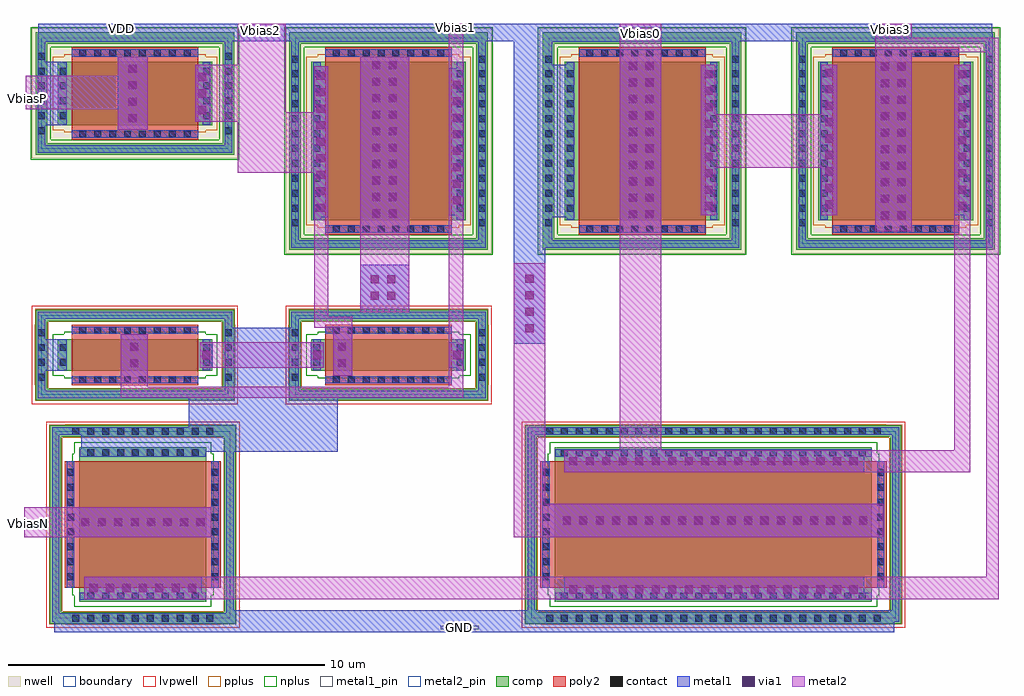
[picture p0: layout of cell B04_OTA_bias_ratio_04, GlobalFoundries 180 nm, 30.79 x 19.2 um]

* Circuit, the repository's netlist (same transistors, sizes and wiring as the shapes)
** sch_path: /foss/designs/AURA-Event-Driven-Mixed-Signal-ASIC-for-Acoustic-Pattern-Detection/analog/B04_OTA_bias_ratio_04.sch
.subckt B04_OTA_bias_ratio_04 VDD Vbias2 Vbias1 Vbias0 Vbias3 GND VbiasP VbiasN
*.PININFO VDD:B Vbias2:O Vbias1:O Vbias0:O Vbias3:O GND:B VbiasP:I VbiasN:I
M1 Vbias1 GND Vbias2 VDD pfet_03v3 L=4u W=5u nf=1
M4 Vbias1 Vbias2 net1 GND nfet_03v3 L=4u W=1u nf=1
M5 net1 Vbias1 GND GND nfet_03v3 L=4u W=1u nf=1
M9 net2 Vbias3 Vbias0 VDD pfet_03v3 L=4u W=5u nf=1
M10 VDD Vbias0 net2 VDD pfet_03v3 L=4u W=5u nf=1
M6 Vbias3 VDD Vbias0 GND nfet_03v3 L=4u W=10u nf=1
M2 Vbias2 VbiasP VDD VDD pfet_03v3 L=4u W=2u nf=1
M3 GND VbiasN Vbias3 GND nfet_03v3 L=4u W=4u nf=1
.ends

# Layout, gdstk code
from math import pi, radians
import gdstk
lib = gdstk.Library(unit=1e-6, precision=1e-09)
def R(c, l, rs):  # rectangles x0, y0, x1, y1
    for r in rs: c.add(gdstk.rectangle(r[:2], r[2:], *l))
def A(c, l, x, y, w, h, nx, ny, dx, dy):  # array of equal rectangles
    R(c, l, [(x+i*dx, y+j*dy, x+i*dx+w, y+j*dy+h) for i in range(nx) for j in range(ny)])
boundary = (0, 0)
nwell = (21, 0)
comp = (22, 0)
poly2 = (30, 0)
pplus = (31, 0)
nplus = (32, 0)
contact = (33, 0)
metal1 = (34, 0)
metal1_pin = (34, 10)
via1 = (35, 0)
metal2 = (36, 0)
metal2_pin = (36, 10)
lvpwell = (204, 0)

pfet_03v3_aerj7t = lib.new_cell('pfet_03v3_AERJ7T')
R(pfet_03v3_aerj7t, boundary, [(-2.95,-3.25,2.95,3.25)])
R(pfet_03v3_aerj7t, nwell, [(-3.25,-3.55,3.25,3.55)])
R(pfet_03v3_aerj7t, comp, [(-3.13,-3.43,3.13,-3.07), (-3.13,-3.07,-2.77,3.07), (2.77,-3.07,3.13,3.07), (-2.44,-2.5,2.44,2.5), (-3.13,3.07,3.13,3.43)])
R(pfet_03v3_aerj7t, poly2, [(-2,-2.96,2,2.96)])
R(pfet_03v3_aerj7t, pplus, [(-2.23,-2.73,2.23,-2.66), (-2.6,-2.66,2.6,2.66), (-2.23,2.66,2.23,2.73)])
R(pfet_03v3_aerj7t, nplus, [(-3.29,-3.59,3.29,-2.96), (-3.29,-2.96,-2.66,2.96), (2.66,-2.96,3.29,2.96), (-3.29,2.96,3.29,3.59)])
A(pfet_03v3_aerj7t, contact, -1.755, -2.89, 0.22, 0.22, 8, 2, 0.47, 5.56)
A(pfet_03v3_aerj7t, contact, -3.06, -2.695, 0.22, 0.22, 1, 12, 0, 0.47)
A(pfet_03v3_aerj7t, contact, 2.84, -2.695, 0.22, 0.22, 1, 12, 0, 0.47)
A(pfet_03v3_aerj7t, contact, -2.37, -2.225, 0.22, 0.22, 1, 10, 0, 0.47)
A(pfet_03v3_aerj7t, contact, 2.15, -2.225, 0.22, 0.22, 1, 10, 0, 0.47)
R(pfet_03v3_aerj7t, metal1, [(-3.065,-3.365,3.065,-3.135), (-3.065,-3.135,-2.835,3.135), (2.835,-3.135,3.065,3.135), (-1.99,-2.895,1.99,-2.665), (-2.375,-2.49,-2.145,2.49), (2.145,-2.49,2.375,2.49), (-1.99,2.665,1.99,2.895), (-3.065,3.135,3.065,3.365)])

nfet_03v3_gptq69 = lib.new_cell('nfet_03v3_GPTQ69')
R(nfet_03v3_gptq69, boundary, [(-2.95,-5.75,2.95,5.75)])
R(nfet_03v3_gptq69, comp, [(-3.13,-5.93,3.13,-5.57), (-3.13,-5.57,-2.77,5.57), (2.77,-5.57,3.13,5.57), (-2.44,-5,2.44,5), (-3.13,5.57,3.13,5.93)])
R(nfet_03v3_gptq69, poly2, [(-2,-5.46,2,5.46)])
R(nfet_03v3_gptq69, pplus, [(-3.15,-5.95,3.15,-5.55), (-3.15,-5.55,-2.74,-5.445), (2.74,-5.55,3.15,-5.445), (-3.16,-5.445,-2.74,5.445), (2.74,-5.445,3.16,5.445), (-3.15,5.445,-2.74,5.55), (2.74,5.445,3.15,5.55), (-3.15,5.55,3.15,5.95)])
R(nfet_03v3_gptq69, nplus, [(-2.23,-5.23,2.23,-5.16), (-2.6,-5.16,2.6,5.16), (-2.23,5.16,2.23,5.23)])
A(nfet_03v3_gptq69, contact, -1.755, -5.39, 0.22, 0.22, 8, 2, 0.47, 10.56)
A(nfet_03v3_gptq69, contact, -3.06, -5.28, 0.22, 0.22, 1, 23, 0, 0.47)
A(nfet_03v3_gptq69, contact, 2.84, -5.28, 0.22, 0.22, 1, 23, 0, 0.47)
A(nfet_03v3_gptq69, contact, -2.37, -4.81, 0.22, 0.22, 1, 21, 0, 0.47)
A(nfet_03v3_gptq69, contact, 2.15, -4.81, 0.22, 0.22, 1, 21, 0, 0.47)
R(nfet_03v3_gptq69, metal1, [(-3.065,-5.865,3.065,-5.635), (-3.065,-5.635,-2.835,5.635), (2.835,-5.635,3.065,5.635), (-1.99,-5.395,1.99,-5.165), (-2.375,-4.99,-2.145,4.99), (2.145,-4.99,2.375,4.99), (-1.99,5.165,1.99,5.395), (-3.065,5.635,3.065,5.865)])
R(nfet_03v3_gptq69, lvpwell, [(-3.25,-6.05,3.25,6.05)])

nfet_03v3_rec73x = lib.new_cell('nfet_03v3_REC73X')
R(nfet_03v3_rec73x, boundary, [(-2.95,-1.25,2.95,1.25)])
R(nfet_03v3_rec73x, comp, [(-3.13,-1.43,3.13,-1.07), (-3.13,-1.07,-2.77,1.07), (2.77,-1.07,3.13,1.07), (-2.44,-0.5,2.44,0.5), (-3.13,1.07,3.13,1.43)])
R(nfet_03v3_rec73x, poly2, [(-2,-0.96,2,0.96)])
R(nfet_03v3_rec73x, pplus, [(-3.15,-1.45,3.15,-1.05), (-3.15,-1.05,-2.74,-0.945), (2.74,-1.05,3.15,-0.945), (-3.16,-0.945,-2.74,0.945), (2.74,-0.945,3.16,0.945), (-3.15,0.945,-2.74,1.05), (2.74,0.945,3.15,1.05), (-3.15,1.05,3.15,1.45)])
R(nfet_03v3_rec73x, nplus, [(-2.23,-0.73,2.23,-0.66), (-2.6,-0.66,2.6,0.66), (-2.23,0.66,2.23,0.73)])
A(nfet_03v3_rec73x, contact, -1.755, -0.89, 0.22, 0.22, 8, 2, 0.47, 1.56)
A(nfet_03v3_rec73x, contact, -3.06, -0.815, 0.22, 0.22, 1, 4, 0, 0.47)
A(nfet_03v3_rec73x, contact, 2.84, -0.815, 0.22, 0.22, 1, 4, 0, 0.47)
R(nfet_03v3_rec73x, contact, [(-2.37,-0.345,-2.15,-0.125), (2.15,-0.345,2.37,-0.125), (-2.37,0.125,-2.15,0.345), (2.15,0.125,2.37,0.345)])
R(nfet_03v3_rec73x, metal1, [(-3.065,-1.365,3.065,-1.135), (-3.065,-1.135,-2.835,1.135), (2.835,-1.135,3.065,1.135), (-1.99,-0.895,1.99,-0.665), (-2.375,-0.49,-2.145,0.49), (2.145,-0.49,2.375,0.49), (-1.99,0.665,1.99,0.895), (-3.065,1.135,3.065,1.365)])
R(nfet_03v3_rec73x, lvpwell, [(-3.25,-1.55,3.25,1.55)])

nfet_03v3_cnwpyg = lib.new_cell('nfet_03v3_CNWPYG')
R(nfet_03v3_cnwpyg, boundary, [(-2.95,-2.75,2.95,2.75)])
R(nfet_03v3_cnwpyg, comp, [(-3.13,-2.93,3.13,-2.57), (-3.13,-2.57,-2.77,2.57), (2.77,-2.57,3.13,2.57), (-2.44,-2,2.44,2), (-3.13,2.57,3.13,2.93)])
R(nfet_03v3_cnwpyg, poly2, [(-2,-2.46,2,2.46)])
R(nfet_03v3_cnwpyg, pplus, [(-3.15,-2.95,3.15,-2.55), (-3.15,-2.55,-2.74,-2.445), (2.74,-2.55,3.15,-2.445), (-3.16,-2.445,-2.74,2.445), (2.74,-2.445,3.16,2.445), (-3.15,2.445,-2.74,2.55), (2.74,2.445,3.15,2.55), (-3.15,2.55,3.15,2.95)])
R(nfet_03v3_cnwpyg, nplus, [(-2.23,-2.23,2.23,-2.16), (-2.6,-2.16,2.6,2.16), (-2.23,2.16,2.23,2.23)])
A(nfet_03v3_cnwpyg, contact, -1.755, -2.39, 0.22, 0.22, 8, 2, 0.47, 4.56)
A(nfet_03v3_cnwpyg, contact, -3.06, -2.225, 0.22, 0.22, 1, 10, 0, 0.47)
A(nfet_03v3_cnwpyg, contact, 2.84, -2.225, 0.22, 0.22, 1, 10, 0, 0.47)
A(nfet_03v3_cnwpyg, contact, -2.37, -1.755, 0.22, 0.22, 1, 8, 0, 0.47)
A(nfet_03v3_cnwpyg, contact, 2.15, -1.755, 0.22, 0.22, 1, 8, 0, 0.47)
R(nfet_03v3_cnwpyg, metal1, [(-3.065,-2.865,3.065,-2.635), (-3.065,-2.635,-2.835,2.635), (2.835,-2.635,3.065,2.635), (-1.99,-2.395,1.99,-2.165), (-2.375,-1.99,-2.145,1.99), (2.145,-1.99,2.375,1.99), (-1.99,2.165,1.99,2.395), (-3.065,2.635,3.065,2.865)])
R(nfet_03v3_cnwpyg, lvpwell, [(-3.25,-3.05,3.25,3.05)])

pfet_03v3_m5a2nd = lib.new_cell('pfet_03v3_M5A2ND')
R(pfet_03v3_m5a2nd, boundary, [(-2.95,-1.75,2.95,1.75)])
R(pfet_03v3_m5a2nd, nwell, [(-3.25,-2.05,3.25,2.05)])
R(pfet_03v3_m5a2nd, comp, [(-3.13,-1.93,3.13,-1.57), (-3.13,-1.57,-2.77,1.57), (2.77,-1.57,3.13,1.57), (-2.44,-1,2.44,1), (-3.13,1.57,3.13,1.93)])
R(pfet_03v3_m5a2nd, poly2, [(-2,-1.46,2,1.46)])
R(pfet_03v3_m5a2nd, pplus, [(-2.23,-1.23,2.23,-1.16), (-2.6,-1.16,2.6,1.16), (-2.23,1.16,2.23,1.23)])
R(pfet_03v3_m5a2nd, nplus, [(-3.29,-2.09,3.29,-1.46), (-3.29,-1.46,-2.66,1.46), (2.66,-1.46,3.29,1.46), (-3.29,1.46,3.29,2.09)])
A(pfet_03v3_m5a2nd, contact, -1.755, -1.39, 0.22, 0.22, 8, 2, 0.47, 2.56)
A(pfet_03v3_m5a2nd, contact, -3.06, -1.285, 0.22, 0.22, 1, 6, 0, 0.47)
A(pfet_03v3_m5a2nd, contact, 2.84, -1.285, 0.22, 0.22, 1, 6, 0, 0.47)
A(pfet_03v3_m5a2nd, contact, -2.37, -0.815, 0.22, 0.22, 1, 4, 0, 0.47)
A(pfet_03v3_m5a2nd, contact, 2.15, -0.815, 0.22, 0.22, 1, 4, 0, 0.47)
R(pfet_03v3_m5a2nd, metal1, [(-3.065,-1.865,3.065,-1.635), (-3.065,-1.635,-2.835,1.635), (2.835,-1.635,3.065,1.635), (-1.99,-1.395,1.99,-1.165), (-2.375,-0.99,-2.145,0.99), (2.145,-0.99,2.375,0.99), (-1.99,1.165,1.99,1.395), (-3.065,1.635,3.065,1.865)])

b04_ota_bias_ratio_04 = lib.new_cell('B04_OTA_bias_ratio_04')
R(b04_ota_bias_ratio_04, metal1, [(0.2,-12.25,26.7,-11.65), (5.65,-11.65,26.7,-11.55), (1.15,-11.2,4.85,-10.5), (16.3,-11.2,25.75,-10.5), (0.8,-9.25,5.35,-8.3), (15.65,-9.25,26.35,-8.2), (16.3,-7.2,25.75,-6.5), (1.05,-6.55,9.15,-5.85), (4.05,-5.85,9.15,-5.8), (4.45,-5.8,9.15,-4.75), (5.75,-4.75,7.7,-4.4), (5.6,-4.4,7.85,-2.65), (9,-4.4,9.45,-4.2), (2.3,-4.35,3.15,-2.65), (9,-4.2,9.6,-2.8), (-0.25,-4,0.5,-3), (4.8,-3.9,5.2,-3.1), (8.3,-3.9,8.7,-3.1), (12.65,-3.9,13.1,-3.1), (14.7,-3.15,15.7,6.4), (9,-2.8,9.45,-2.65), (9.85,-2.2,11.4,-0.65), (9.85,0.4,11.4,6.1), (18.05,0.4,19.35,6.1), (26.1,0.4,27.25,6.05), (8.4,0.85,8.85,5.6), (15.75,0.85,16.6,5.65), (12.65,0.9,13,1), (20.6,0.9,21.05,5.65), (24.45,0.9,24.9,5.65), (28.6,0.9,29.1,5.65), (12.65,1,13.05,5.4), (2.2,3.4,3.15,6.05), (-0.15,3.75,0.45,5.75), (4.65,3.85,5.1,5.65), (12.65,5.4,13,5.55), (-0.3,6.4,29.8,6.95)])
R(b04_ota_bias_ratio_04, metal1_pin, [(12.4,-12.15,13.6,-12.05), (1.95,6.75,2.7,6.85)])
A(b04_ota_bias_ratio_04, via1, 16.45, -11.03, 0.26, 0.26, 18, 2, 0.52, 4.05)
A(b04_ota_bias_ratio_04, via1, 1.31, -10.98, 0.26, 0.26, 7, 1, 0.52, 0)
A(b04_ota_bias_ratio_04, via1, 1.05, -8.905, 0.26, 0.26, 8, 1, 0.52, 0)
A(b04_ota_bias_ratio_04, via1, 16.24, -8.855, 0.26, 0.26, 19, 1, 0.52, 0)
A(b04_ota_bias_ratio_04, via1, 15.07, -2.785, 0.26, 0.26, 1, 4, 0, 0.52)
A(b04_ota_bias_ratio_04, via1, 26.285, 0.78, 0.26, 0.26, 1, 10, 0, 0.52)
A(b04_ota_bias_ratio_04, via1, 26.805, 0.78, 0.26, 0.26, 1, 10, 0, 0.52)
A(b04_ota_bias_ratio_04, via1, 18.335, 0.805, 0.26, 0.26, 1, 10, 0, 0.52)
A(b04_ota_bias_ratio_04, via1, 18.855, 0.805, 0.26, 0.26, 1, 10, 0, 0.52)
A(b04_ota_bias_ratio_04, via1, 10.235, 0.83, 0.26, 0.26, 1, 10, 0, 0.52)
A(b04_ota_bias_ratio_04, via1, 10.755, 0.83, 0.26, 0.26, 1, 10, 0, 0.52)
A(b04_ota_bias_ratio_04, via1, 8.47, 1.015, 0.26, 0.26, 1, 9, 0, 0.52)
A(b04_ota_bias_ratio_04, via1, 20.72, 1.065, 0.26, 0.26, 1, 9, 0, 0.52)
A(b04_ota_bias_ratio_04, via1, 28.72, 1.065, 0.26, 0.26, 1, 9, 0, 0.52)
A(b04_ota_bias_ratio_04, via1, 24.52, 1.115, 0.26, 0.26, 1, 9, 0, 0.52)
A(b04_ota_bias_ratio_04, via1, 12.77, 1.25, 0.26, 0.26, 1, 8, 0, 0.52)
A(b04_ota_bias_ratio_04, via1, 2.545, 3.84, 0.26, 0.26, 1, 4, 0, 0.52)
A(b04_ota_bias_ratio_04, via1, 4.745, 4.1, 0.26, 0.26, 1, 3, 0, 0.52)
R(b04_ota_bias_ratio_04, via1, [(2.595,-3.89,2.855,-3.63), (9.145,-3.89,9.405,-3.63), (4.87,-3.63,5.13,-3.37), (8.37,-3.63,8.63,-3.37), (12.77,-3.63,13.03,-3.37), (2.595,-3.37,2.855,-3.11), (9.145,-3.37,9.405,-3.11), (10.185,-1.765,10.445,-1.505), (10.705,-1.765,10.965,-1.505), (10.185,-1.245,10.445,-0.985), (10.705,-1.245,10.965,-0.985)])
R(b04_ota_bias_ratio_04, metal2, [(1.15,-11.2,30,-10.5), (29.6,-10.5,30,6.05), (-0.75,-9.25,5.15,-8.3), (14.7,-9.25,26.35,-8.2), (14.7,-8.2,15.7,-0.6), (16.3,-7.2,29.1,-6.5), (18.05,-6.5,19.35,6.95), (28.6,-6.5,29.1,5.65), (2.3,-4.85,13.1,-4.5), (2.3,-4.5,3.15,-2.85), (12.65,-4.5,13.1,6.95), (9,-4.15,9.6,-2.65), (4.8,-3.9,8.7,-3.1), (8.4,-2.65,9.6,-2.3), (8.4,-2.3,8.85,2.25), (9.85,-2.15,11.4,5.9), (26.1,0.4,27.25,6.05), (20.6,0.9,21.05,2.4), (24.4,0.9,24.9,2.4), (6,2.25,8.85,3.85), (20.6,2.4,24.9,4.1), (2.2,3.6,3.15,4.25), (4.65,3.85,8.85,4.15), (20.6,4.1,21.05,5.65), (24.4,4.1,24.9,5.65), (4.65,4.15,7.5,5.65), (8.4,4.15,8.85,5.6), (-0.7,4.25,3.15,5.3), (2.2,5.3,3.15,5.9), (6,5.65,7.5,6.95), (26.1,6.05,30,6.5), (26.1,6.5,27.25,6.95)])
R(b04_ota_bias_ratio_04, metal2_pin, [(-0.65,4.55,-0.6,4.6), (18.4,6.5,19,6.75), (6.55,6.65,6.9,6.8), (26.3,6.7,26.9,6.85), (12.75,6.75,12.95,6.9)])
R(b04_ota_bias_ratio_04, lvpwell, [(4.8,-3.9,5,-3.75)])
b04_ota_bias_ratio_04.add(gdstk.Reference(pfet_03v3_aerj7t, (18.75,3.25)))
b04_ota_bias_ratio_04.add(gdstk.Reference(pfet_03v3_aerj7t, (26.75,3.25)))
b04_ota_bias_ratio_04.add(gdstk.Reference(nfet_03v3_gptq69, (21,-8.85), rotation=3*pi/2))
b04_ota_bias_ratio_04.add(gdstk.Reference(nfet_03v3_rec73x, (2.75,-3.5)))
b04_ota_bias_ratio_04.add(gdstk.Reference(nfet_03v3_rec73x, (10.75,-3.5)))
b04_ota_bias_ratio_04.add(gdstk.Reference(nfet_03v3_cnwpyg, (3,-8.85), rotation=3*pi/2))
b04_ota_bias_ratio_04.add(gdstk.Reference(pfet_03v3_m5a2nd, (2.75,4.75)))
b04_ota_bias_ratio_04.add(gdstk.Reference(pfet_03v3_aerj7t, (10.75,3.25)))
b04_ota_bias_ratio_04.add(gdstk.Label('VDD', (2.325,6.8), layer=34, texttype=10))
b04_ota_bias_ratio_04.add(gdstk.Label('Vbias2', (6.725,6.725), layer=36, texttype=10))
b04_ota_bias_ratio_04.add(gdstk.Label('Vbias1', (12.85,6.825), layer=36, texttype=10))
b04_ota_bias_ratio_04.add(gdstk.Label('Vbias0', (18.7,6.625), layer=36, texttype=10))
b04_ota_bias_ratio_04.add(gdstk.Label('Vbias3', (26.6,6.775), layer=36, texttype=10))
b04_ota_bias_ratio_04.add(gdstk.Label('GND', (13,-12.1), layer=34, texttype=10))
b04_ota_bias_ratio_04.add(gdstk.Label('VbiasN', (-0.6,-8.825), layer=36, texttype=10))
b04_ota_bias_ratio_04.add(gdstk.Label('VbiasP', (-0.625,4.575), layer=36, texttype=10))

lib.write_gds('B04_OTA_bias_ratio_04.gds')
